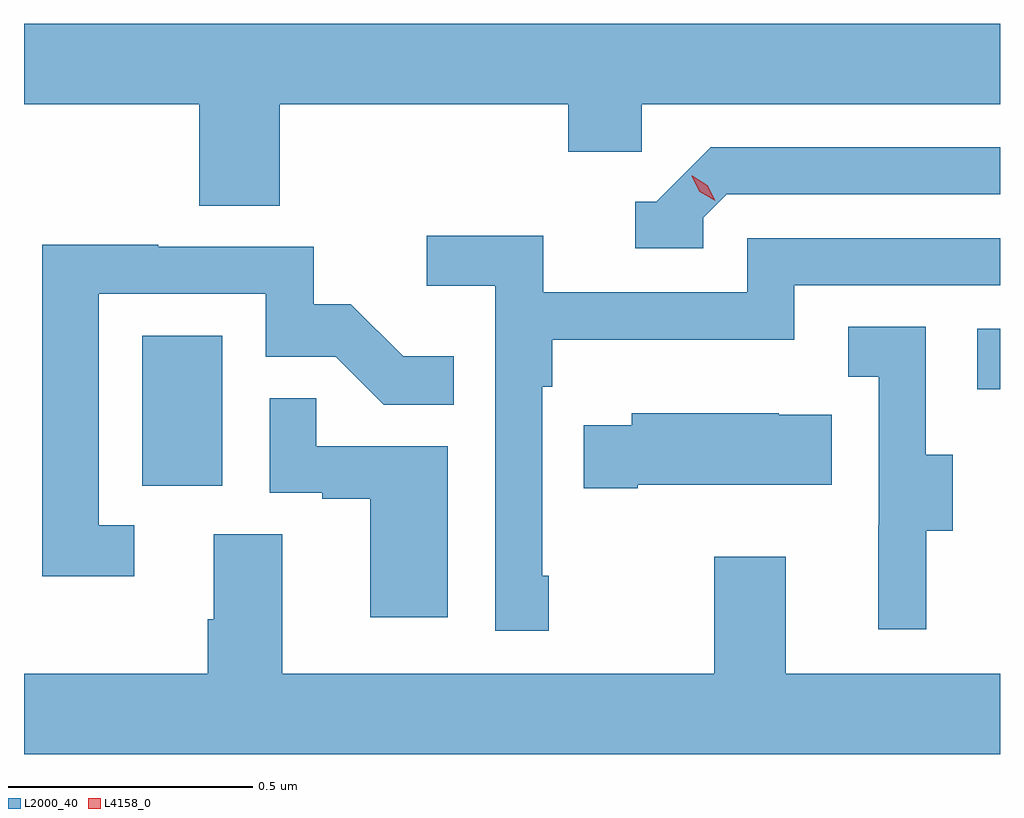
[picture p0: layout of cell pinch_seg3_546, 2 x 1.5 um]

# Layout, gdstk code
import gdstk
lib = gdstk.Library(unit=1e-6, precision=1e-09)
def R(c, l, rs):  # rectangles x0, y0, x1, y1
    for r in rs: c.add(gdstk.rectangle(r[:2], r[2:], *l))
def P(c, l, *ps):  # polygons
    for p in ps: c.add(gdstk.Polygon(p, *l))
L2000_40 = (2000, 40)
L4158_0 = (4158, 0)

pinch_seg3_546 = lib.new_cell('pinch_seg3_546')
R(pinch_seg3_546, L2000_40, [(1105.268,700.134,1105.432,700.441), (1106.979,700.331,1107.026,700.455)])
P(pinch_seg3_546, L2000_40, [(1105.55,700.916),(1106.141,700.916),(1106.141,700.818),(1106.292,700.818),(1106.292,700.916),(1107.026,700.916),(1107.026,701.08),(1105.026,701.08),(1105.026,700.916),(1105.385,700.916),(1105.385,700.708),(1105.55,700.708)],
  [(1106.418,700.683),(1106.466,700.731),(1107.026,700.731),(1107.026,700.827),(1106.433,700.827),(1106.322,700.716),(1106.279,700.716),(1106.279,700.62),(1106.418,700.62)],
  [(1106.101,699.949),(1106.088,699.949),(1106.088,700.337),(1106.108,700.337),(1106.108,700.433),(1106.604,700.433),(1106.604,700.545),(1107.026,700.545),(1107.026,700.641),(1106.508,700.641),(1106.508,700.53),(1106.09,700.53),(1106.09,700.646),(1105.851,700.646),(1105.851,700.544),(1105.992,700.544),(1105.992,699.837),(1106.101,699.837)],
  [(1105.252,700.053),(1105.179,700.053),(1105.179,700.527),(1105.521,700.527),(1105.521,700.398),(1105.665,700.398),(1105.763,700.3),(1105.907,700.3),(1105.907,700.399),(1105.803,700.399),(1105.696,700.506),(1105.62,700.506),(1105.62,700.623),(1105.301,700.623),(1105.301,700.628),(1105.063,700.628),(1105.063,699.948),(1105.252,699.948)],
  [(1106.875,700.042),(1106.929,700.042),(1106.929,700.197),(1106.874,700.197),(1106.874,700.46),(1106.715,700.46),(1106.715,700.357),(1106.778,700.357),(1106.778,700.053),(1106.777,700.053),(1106.777,699.84),(1106.875,699.84)],
  [(1105.894,700.215),(1105.625,700.215),(1105.625,700.313),(1105.53,700.313),(1105.53,700.119),(1105.637,700.119),(1105.637,700.107),(1105.736,700.107),(1105.736,699.864),(1105.894,699.864)],
  [(1106.284,700.136),(1106.681,700.136),(1106.681,700.279),(1106.573,700.279),(1106.573,700.282),(1106.271,700.282),(1106.271,700.258),(1106.173,700.258),(1106.173,700.129),(1106.284,700.129)],
  [(1107.026,699.748),(1106.587,699.748),(1106.587,699.988),(1106.44,699.988),(1106.44,699.748),(1105.555,699.748),(1105.555,700.034),(1105.415,700.034),(1105.415,699.86),(1105.403,699.86),(1105.403,699.748),(1105.026,699.748),(1105.026,699.584),(1107.026,699.584)])
P(pinch_seg3_546, L4158_0, [(1106.442,700.718),(1106.411,700.736),(1106.394,700.768),(1106.394,700.769),(1106.395,700.769),(1106.426,700.75),(1106.442,700.718),(1106.442,700.718)])

lib.write_gds('pinch_seg3_546.gds')
